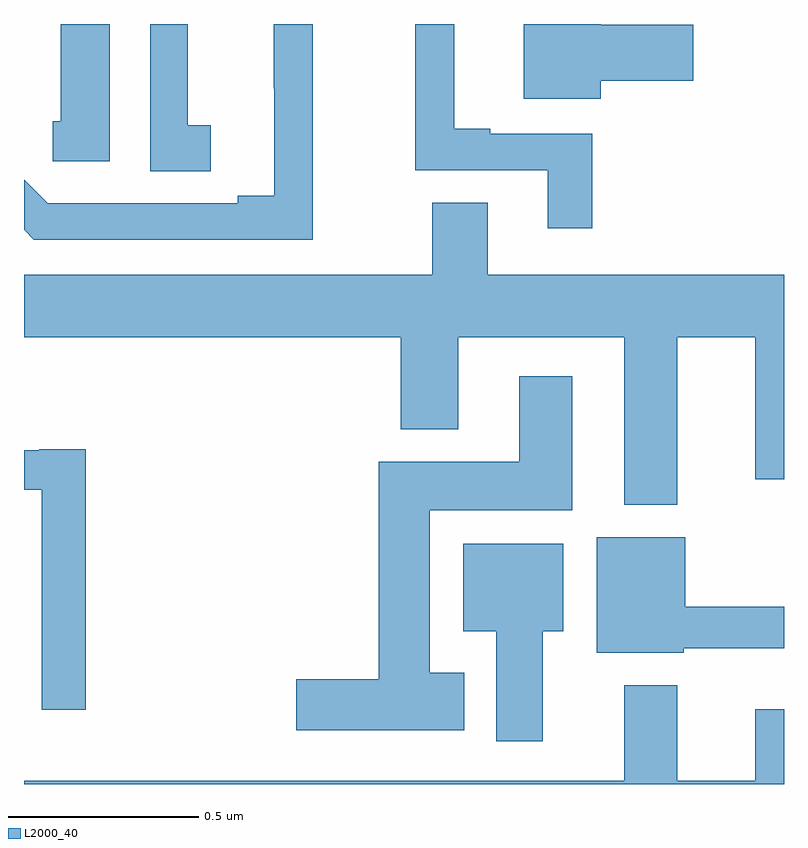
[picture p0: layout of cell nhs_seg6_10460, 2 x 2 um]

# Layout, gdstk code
import gdstk
lib = gdstk.Library(unit=1e-6, precision=1e-09)
def P(c, l, *ps):  # polygons
    for p in ps: c.add(gdstk.Polygon(p, *l))
L2000_40 = (2000, 40)

nhs_seg6_10460 = lib.new_cell('nhs_seg6_10460')
P(nhs_seg6_10460, L2000_40, [(247.76,941.5),(247.657,941.5),(247.657,941.331),(247.658,941.331),(247.658,941.048),(247.562,941.048),(247.562,941.028),(247.062,941.028),(247,941.09),(247,940.958),(247.026,940.932),(247.76,940.932)],
  [(247.225,941.5),(247.097,941.5),(247.097,941.244),(247.075,941.244),(247.075,941.139),(247.225,941.139)],
  [(247.492,941.233),(247.431,941.233),(247.431,941.5),(247.332,941.5),(247.332,941.113),(247.492,941.113)],
  [(248.495,941.211),(248.227,941.211),(248.227,941.224),(248.132,941.224),(248.132,941.5),(248.029,941.5),(248.029,941.115),(248.378,941.115),(248.378,940.962),(248.495,940.962)],
  [(248.518,941.351),(248.761,941.351),(248.761,941.498),(248.518,941.498),(248.518,941.5),(248.315,941.5),(248.315,941.303),(248.518,941.303)],
  [(248.719,940.676),(248.924,940.676),(248.924,940.302),(249,940.302),(249,940.84),(248.221,940.84),(248.221,941.03),(248.074,941.03),(248.074,940.84),(247,940.84),(247,940.676),(247.991,940.676),(247.991,940.433),(248.143,940.433),(248.143,940.676),(248.579,940.676),(248.579,940.235),(248.719,940.235)],
  [(248.158,939.793),(248.068,939.793),(248.068,940.22),(248.443,940.22),(248.443,940.573),(248.303,940.573),(248.303,940.348),(247.934,940.348),(247.934,939.776),(247.716,939.776),(247.716,939.641),(248.158,939.641)],
  [(247.163,940.381),(247.04,940.381),(247.04,940.378),(247,940.378),(247,940.274),(247.047,940.274),(247.047,939.696),(247.163,939.696)],
  [(248.736,939.857),(249,939.857),(249,939.967),(248.74,939.967),(248.74,940.15),(248.507,940.15),(248.507,939.845),(248.736,939.845)],
  [(248.365,939.902),(248.419,939.902),(248.419,940.132),(248.156,940.132),(248.156,939.902),(248.243,939.902),(248.243,939.612),(248.365,939.612)],
  [(249,939.697),(248.924,939.697),(248.924,939.508),(248.719,939.508),(248.719,939.76),(248.579,939.76),(248.579,939.508),(247,939.508),(247,939.5),(249,939.5)])

lib.write_gds('nhs_seg6_10460.gds')
